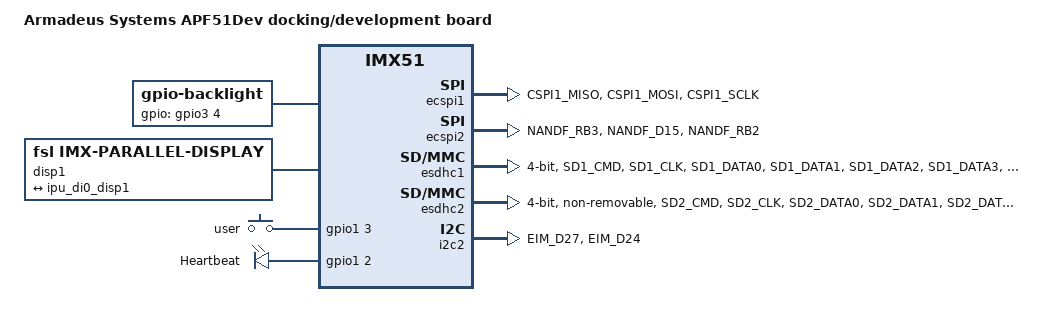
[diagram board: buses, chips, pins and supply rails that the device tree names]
// SPDX-License-Identifier: GPL-2.0-or-later
/*
 * Copyright 2013 Armadeus Systems - <support@armadeus.com>
 */

/* APF51Dev is a docking board for the APF51 SOM */
#include "imx51-apf51.dts"

/ {
	model = "Armadeus Systems APF51Dev docking/development board";
	compatible = "armadeus,imx51-apf51dev", "armadeus,imx51-apf51", "fsl,imx51";

	backlight {
		pinctrl-names = "default";
		pinctrl-0 = <&pinctrl_backlight>;
		compatible = "gpio-backlight";
		gpios = <&gpio3 4 GPIO_ACTIVE_HIGH>;
		default-on;
	};

	disp1 {
		compatible = "fsl,imx-parallel-display";
		interface-pix-fmt = "bgr666";
		pinctrl-names = "default";
		pinctrl-0 = <&pinctrl_ipu_disp1>;

		display-timings {
			lw700 {
				native-mode;
				clock-frequency = <33000033>;
				hactive = <800>;
				vactive = <480>;
				hback-porch = <96>;
				hfront-porch = <96>;
				vback-porch = <20>;
				vfront-porch = <21>;
				hsync-len = <64>;
				vsync-len = <4>;
				hsync-active = <1>;
				vsync-active = <1>;
				de-active = <1>;
				pixelclk-active = <0>;
			};
		};

		port {
			display_in: endpoint {
				remote-endpoint = <&ipu_di0_disp1>;
			};
		};
	};

	gpio-keys {
		compatible = "gpio-keys";

		user-key {
			label = "user";
			gpios = <&gpio1 3 GPIO_ACTIVE_HIGH>;
			linux,code = <256>; /* BTN_0 */
		};
	};

	leds {
		compatible = "gpio-leds";

		user {
			label = "Heartbeat";
			gpios = <&gpio1 2 GPIO_ACTIVE_HIGH>;
			linux,default-trigger = "heartbeat";
		};
	};
};

&ecspi1 {
	pinctrl-names = "default";
	pinctrl-0 = <&pinctrl_ecspi1>;
	cs-gpios = <&gpio4 24 GPIO_ACTIVE_HIGH>,
		   <&gpio4 25 GPIO_ACTIVE_HIGH>;
	status = "okay";
};

&ecspi2 {
	pinctrl-names = "default";
	pinctrl-0 = <&pinctrl_ecspi2>;
	cs-gpios = <&gpio3 28 GPIO_ACTIVE_LOW>,
		   <&gpio3 27 GPIO_ACTIVE_LOW>;
	status = "okay";
};

&esdhc1 {
	pinctrl-names = "default";
	pinctrl-0 = <&pinctrl_esdhc1>;
	cd-gpios = <&gpio2 29 GPIO_ACTIVE_LOW>;
	bus-width = <4>;
	status = "okay";
};

&esdhc2 {
	pinctrl-names = "default";
	pinctrl-0 = <&pinctrl_esdhc2>;
	bus-width = <4>;
	non-removable;
	status = "okay";
};

&i2c2 {
	pinctrl-names = "default";
	pinctrl-0 = <&pinctrl_i2c2>;
	status = "okay";
};

&iomuxc {
	pinctrl-names = "default";
	pinctrl-0 = <&pinctrl_hog>;

	imx51-apf51dev {
		pinctrl_backlight: backlightgrp {
			fsl,pins = <
				MX51_PAD_DI1_D1_CS__GPIO3_4 0x1F5
			>;
		};

		pinctrl_hog: hoggrp {
			fsl,pins = <
				MX51_PAD_EIM_EB2__GPIO2_22   0x0C5
				MX51_PAD_EIM_EB3__GPIO2_23   0x0C5
				MX51_PAD_EIM_CS4__GPIO2_29   0x100
				MX51_PAD_NANDF_D13__GPIO3_27 0x0C5
				MX51_PAD_NANDF_D12__GPIO3_28 0x0C5
				MX51_PAD_CSPI1_SS0__GPIO4_24 0x0C5
				MX51_PAD_CSPI1_SS1__GPIO4_25 0x0C5
				MX51_PAD_GPIO1_2__GPIO1_2    0x0C5
				MX51_PAD_GPIO1_3__GPIO1_3    0x0C5
			>;
		};

		pinctrl_ecspi1: ecspi1grp {
			fsl,pins = <
				MX51_PAD_CSPI1_MISO__ECSPI1_MISO	0x185
				MX51_PAD_CSPI1_MOSI__ECSPI1_MOSI	0x185
				MX51_PAD_CSPI1_SCLK__ECSPI1_SCLK	0x185
			>;
		};

		pinctrl_ecspi2: ecspi2grp {
			fsl,pins = <
				MX51_PAD_NANDF_RB3__ECSPI2_MISO		0x185
				MX51_PAD_NANDF_D15__ECSPI2_MOSI		0x185
				MX51_PAD_NANDF_RB2__ECSPI2_SCLK		0x185
			>;
		};

		pinctrl_esdhc1: esdhc1grp {
			fsl,pins = <
				MX51_PAD_SD1_CMD__SD1_CMD		0x400020d5
				MX51_PAD_SD1_CLK__SD1_CLK		0x20d5
				MX51_PAD_SD1_DATA0__SD1_DATA0		0x20d5
				MX51_PAD_SD1_DATA1__SD1_DATA1		0x20d5
				MX51_PAD_SD1_DATA2__SD1_DATA2		0x20d5
				MX51_PAD_SD1_DATA3__SD1_DATA3		0x20d5
			>;
		};

		pinctrl_esdhc2: esdhc2grp {
			fsl,pins = <
				MX51_PAD_SD2_CMD__SD2_CMD		0x400020d5
				MX51_PAD_SD2_CLK__SD2_CLK		0x20d5
				MX51_PAD_SD2_DATA0__SD2_DATA0		0x20d5
				MX51_PAD_SD2_DATA1__SD2_DATA1		0x20d5
				MX51_PAD_SD2_DATA2__SD2_DATA2		0x20d5
				MX51_PAD_SD2_DATA3__SD2_DATA3		0x20d5
			>;
		};

		pinctrl_i2c2: i2c2grp {
			fsl,pins = <
				MX51_PAD_EIM_D27__I2C2_SCL		0x400001ed
				MX51_PAD_EIM_D24__I2C2_SDA		0x400001ed
			>;
		};

		pinctrl_ipu_disp1: ipudisp1grp {
			fsl,pins = <
				MX51_PAD_DISP1_DAT0__DISP1_DAT0		0x5
				MX51_PAD_DISP1_DAT1__DISP1_DAT1		0x5
				MX51_PAD_DISP1_DAT2__DISP1_DAT2		0x5
				MX51_PAD_DISP1_DAT3__DISP1_DAT3		0x5
				MX51_PAD_DISP1_DAT4__DISP1_DAT4		0x5
				MX51_PAD_DISP1_DAT5__DISP1_DAT5		0x5
				MX51_PAD_DISP1_DAT6__DISP1_DAT6		0x5
				MX51_PAD_DISP1_DAT7__DISP1_DAT7		0x5
				MX51_PAD_DISP1_DAT8__DISP1_DAT8		0x5
				MX51_PAD_DISP1_DAT9__DISP1_DAT9		0x5
				MX51_PAD_DISP1_DAT10__DISP1_DAT10	0x5
				MX51_PAD_DISP1_DAT11__DISP1_DAT11	0x5
				MX51_PAD_DISP1_DAT12__DISP1_DAT12	0x5
				MX51_PAD_DISP1_DAT13__DISP1_DAT13	0x5
				MX51_PAD_DISP1_DAT14__DISP1_DAT14	0x5
				MX51_PAD_DISP1_DAT15__DISP1_DAT15	0x5
				MX51_PAD_DISP1_DAT16__DISP1_DAT16	0x5
				MX51_PAD_DISP1_DAT17__DISP1_DAT17	0x5
				MX51_PAD_DISP1_DAT18__DISP1_DAT18	0x5
				MX51_PAD_DISP1_DAT19__DISP1_DAT19	0x5
				MX51_PAD_DISP1_DAT20__DISP1_DAT20	0x5
				MX51_PAD_DISP1_DAT21__DISP1_DAT21	0x5
				MX51_PAD_DISP1_DAT22__DISP1_DAT22	0x5
				MX51_PAD_DISP1_DAT23__DISP1_DAT23	0x5
				MX51_PAD_DI1_PIN2__DI1_PIN2		0x5
				MX51_PAD_DI1_PIN3__DI1_PIN3		0x5
			>;
		};
	};
};

&ipu_di0_disp1 {
	remote-endpoint = <&display_in>;
};
